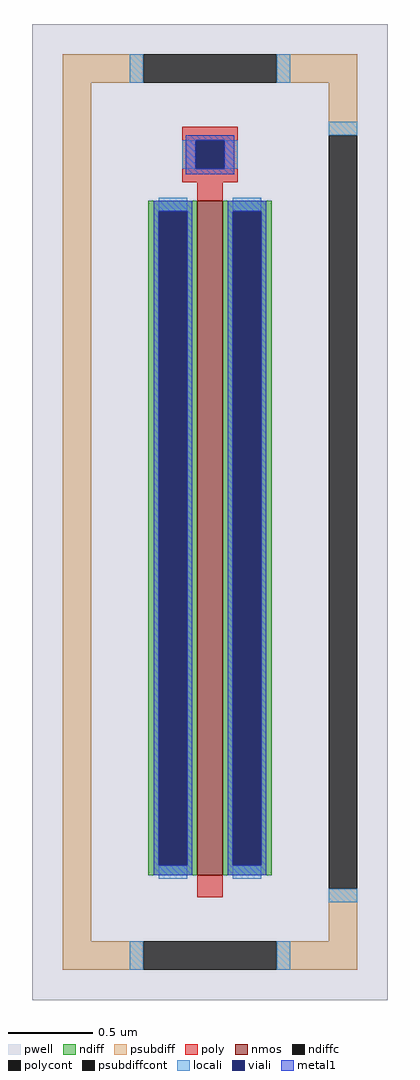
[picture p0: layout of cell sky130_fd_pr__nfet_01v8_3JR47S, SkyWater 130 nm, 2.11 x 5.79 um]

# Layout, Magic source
magic
tech sky130A
magscale 1 2
<< pwell >>
rect -211 -579 211 579
<< nmos >>
rect -15 -431 15 369
<< ndiff >>
rect -73 357 -15 369
rect -73 -419 -61 357
rect -27 -419 -15 357
rect -73 -431 -15 -419
rect 15 357 73 369
rect 15 -419 27 357
rect 61 -419 73 357
rect 15 -431 73 -419
<< ndiffc >>
rect -61 -419 -27 357
rect 27 -419 61 357
<< psubdiff >>
rect -175 509 -79 543
rect 79 509 175 543
rect -175 -509 -141 509
rect 141 447 175 509
rect 141 -509 175 -447
rect -175 -543 -79 -509
rect 79 -543 175 -509
<< psubdiffcont >>
rect -79 509 79 543
rect 141 -447 175 447
rect -79 -543 79 -509
<< poly >>
rect -33 441 33 457
rect -33 407 -17 441
rect 17 407 33 441
rect -33 391 33 407
rect -15 369 15 391
rect -15 -457 15 -431
<< polycont >>
rect -17 407 17 441
<< locali >>
rect -95 509 -79 543
rect 79 509 95 543
rect 141 447 175 463
rect -33 407 -17 441
rect 17 407 33 441
rect -61 357 -27 373
rect -61 -435 -27 -419
rect 27 357 61 373
rect 27 -435 61 -419
rect 141 -463 175 -447
rect -95 -543 -79 -509
rect 79 -543 95 -509
<< viali >>
rect -17 407 17 441
rect -61 -419 -27 357
rect 27 -419 61 357
<< metal1 >>
rect -29 441 29 447
rect -29 407 -17 441
rect 17 407 29 441
rect -29 401 29 407
rect -67 357 -21 369
rect -67 -419 -61 357
rect -27 -419 -21 357
rect -67 -431 -21 -419
rect 21 357 67 369
rect 21 -419 27 357
rect 61 -419 67 357
rect 21 -431 67 -419
<< properties >>
string FIXED_BBOX -158 -526 158 526
string gencell sky130_fd_pr__nfet_01v8
string library sky130
string parameters w 4 l 0.150 m 1 nf 1 diffcov 100 polycov 100 guard 1 glc 0 grc 1 gtc 1 gbc 1 tbcov 100 rlcov 100 topc 1 botc 0 poverlap 0 doverlap 1 lmin 0.15 wmin 0.42 compatible {sky130_fd_pr__nfet_01v8 sky130_fd_pr__nfet_01v8_lvt  sky130_fd_bs_flash__special_sonosfet_star  sky130_fd_pr__nfet_g5v0d10v5 sky130_fd_pr__nfet_05v0_nvt  sky130_fd_pr__nfet_03v3_nvt} full_metal 0 viasrc 100 viadrn 100 viagate 100 viagb 0 viagr 0 viagl 0 viagt 0
<< end >>
